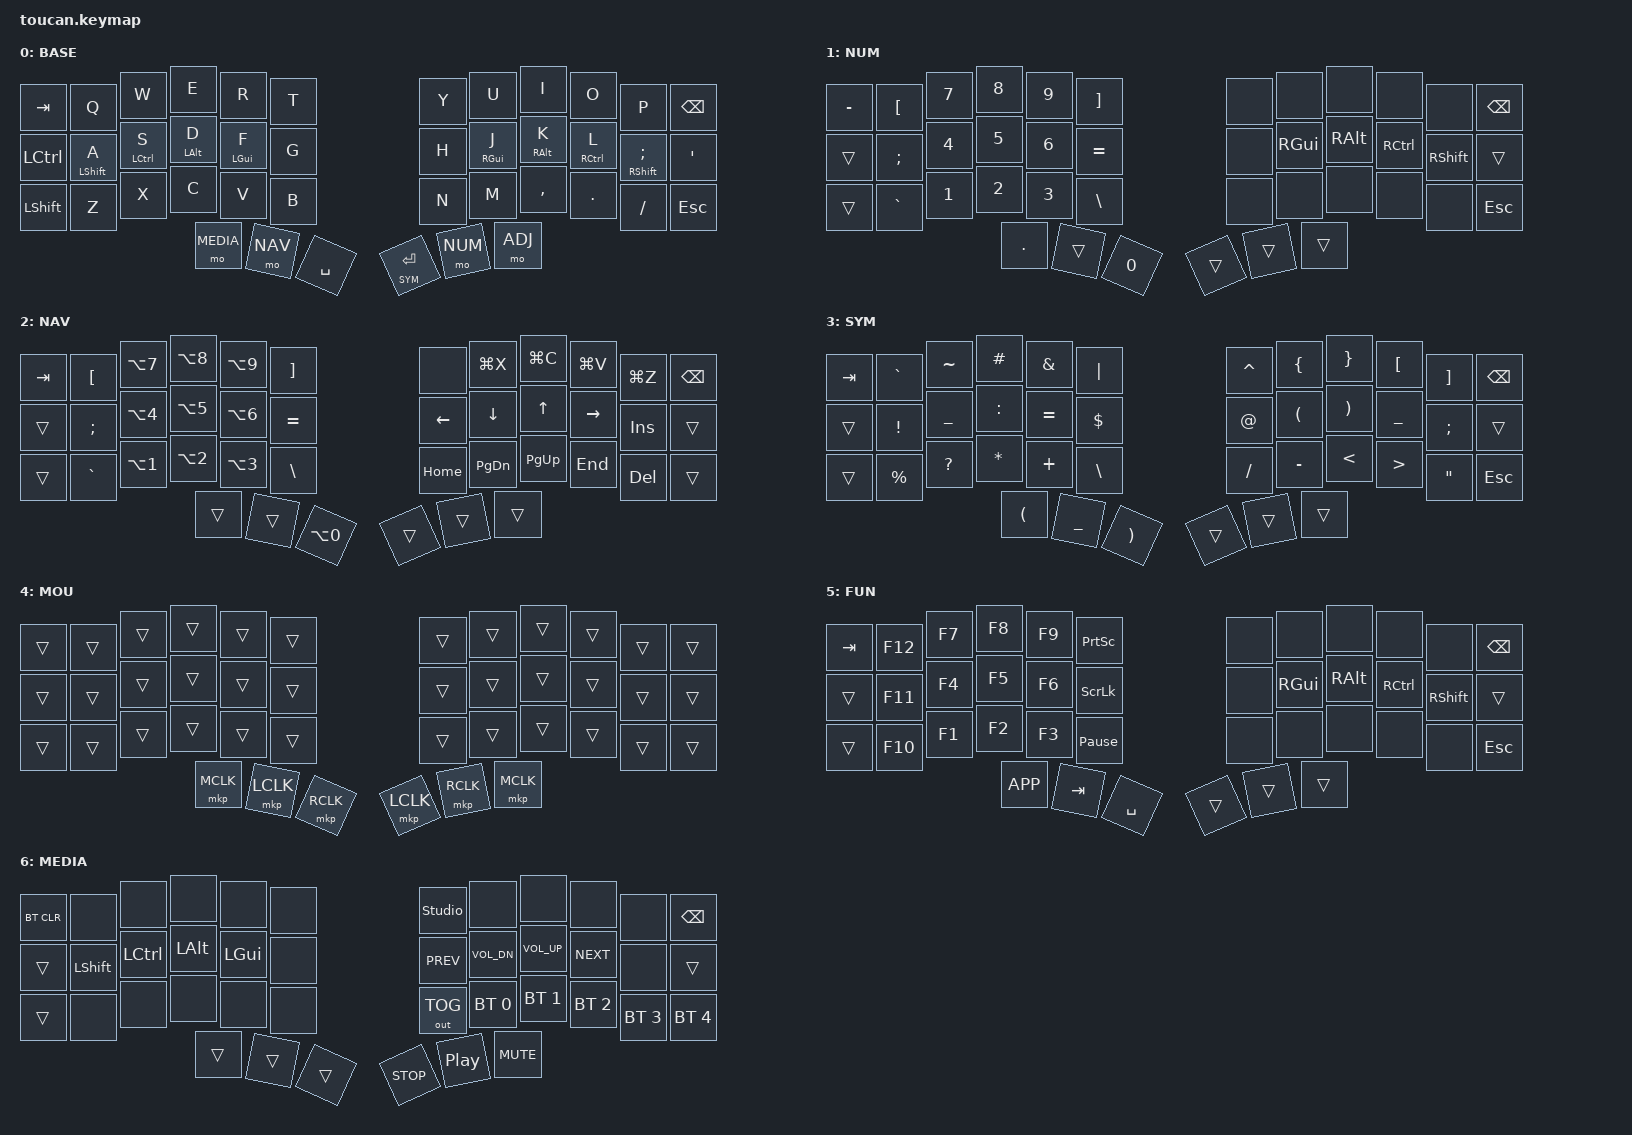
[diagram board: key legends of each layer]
#include <behaviors.dtsi>
#include <dt-bindings/zmk/keys.h>
#include <dt-bindings/zmk/bt.h>
#include <dt-bindings/zmk/outputs.h>
#include <dt-bindings/zmk/pointing.h>

#define BASE 0
#define NUM  1
#define NAV  2
#define SYM  3
// Keep the trackpad's hard-coded &mo 4 in toucan.dtsi aligned with MOU.
#define MOU  4
#define ADJ  5
#define MEDIA 6

/ {
    behaviors {
        sym_enter: symbol_enter {
            compatible = "zmk,behavior-hold-tap";
            #binding-cells = <2>;
            flavor = "balanced";
            tapping-term-ms = <200>;
            bindings = <&mo>, <&kp>;
        };

        hrm_l: home_row_mods_left {
            compatible = "zmk,behavior-hold-tap";
            #binding-cells = <2>;
            flavor = "balanced";
            tapping-term-ms = <280>;
            quick-tap-ms = <175>;
            require-prior-idle-ms = <125>;
            bindings = <&kp>, <&kp>;
            // Opposite-hand keys and all thumbs may trigger a hold.
            hold-trigger-key-positions = <
                6 7 8 9 10 11
                18 19 20 21 22 23
                30 31 32 33 34 35
                36 37 38 39 40 41
            >;
            hold-trigger-on-release;
        };

        hrm_r: home_row_mods_right {
            compatible = "zmk,behavior-hold-tap";
            #binding-cells = <2>;
            flavor = "balanced";
            tapping-term-ms = <280>;
            quick-tap-ms = <175>;
            require-prior-idle-ms = <125>;
            bindings = <&kp>, <&kp>;
            hold-trigger-key-positions = <
                0 1 2 3 4 5
                12 13 14 15 16 17
                24 25 26 27 28 29
                36 37 38 39 40 41
            >;
            hold-trigger-on-release;
        };
    };

    keymap {
        compatible = "zmk,keymap";

        base {
            display-name = "BASE";
            bindings = <
                &kp TAB   &kp Q           &kp W           &kp E           &kp R          &kp T   &kp Y &kp U          &kp I          &kp O           &kp P             &kp BSPC
                &kp LCTRL &hrm_l LSHFT A  &hrm_l LCTRL S  &hrm_l LALT D   &hrm_l LGUI F  &kp G   &kp H &hrm_r RGUI J  &hrm_r RALT K  &hrm_r RCTRL L  &hrm_r RSHFT SEMI &kp SQT
                &kp LSHFT &kp Z           &kp X           &kp C           &kp V          &kp B   &kp N &kp M          &kp COMMA      &kp DOT         &kp FSLH          &kp ESC
                                                     &mo MEDIA &mo NAV &kp SPACE   &sym_enter SYM RET &mo NUM &mo ADJ
            >;
        };

        num {
            display-name = "NUM";
            bindings = <
                &kp MINUS &kp LBKT  &kp N7 &kp N8 &kp N9 &kp RBKT    &none &none        &none        &none         &none         &kp BSPC
                &trans  &kp SEMI  &kp N4 &kp N5 &kp N6 &kp EQUAL   &none &kp RGUI     &kp RALT     &kp RCTRL     &kp RSHFT     &trans
                &trans  &kp GRAVE &kp N1 &kp N2 &kp N3 &kp BSLH    &none &none        &none        &none         &none         &kp ESC
                                      &kp DOT &trans &kp N0   &trans &trans &trans
            >;
        };

        nav {
            display-name = "NAV";
            bindings = <
                &kp TAB &kp LBKT  &kp LA(N7) &kp LA(N8) &kp LA(N9) &kp RBKT    &none    &kp LG(X) &kp LG(C) &kp LG(V)  &kp LG(Z) &kp BSPC
                &trans  &kp SEMI  &kp LA(N4) &kp LA(N5) &kp LA(N6) &kp EQUAL   &kp LEFT &kp DOWN  &kp UP    &kp RIGHT  &kp INS   &trans
                &trans  &kp GRAVE &kp LA(N1) &kp LA(N2) &kp LA(N3) &kp BSLH    &kp HOME &kp PG_DN &kp PG_UP &kp END    &kp DEL   &trans
                                       &trans &trans &kp LA(N0)   &trans &trans &trans
            >;
        };

        sym {
            display-name = "SYM";
            bindings = <
                &kp TAB &kp GRAVE &kp TILDE &kp HASH  &kp AMPS  &kp PIPE   &kp CARET &kp LBRC  &kp RBRC &kp LBKT  &kp RBKT &kp BSPC
                &trans  &kp EXCL  &kp UNDER &kp COLON &kp EQUAL &kp DLLR   &kp AT    &kp LPAR  &kp RPAR &kp UNDER &kp SEMI &trans
                &trans  &kp PRCNT &kp QMARK &kp STAR  &kp PLUS  &kp BSLH   &kp FSLH  &kp MINUS &kp LT   &kp GT    &kp DQT  &kp ESC
                                      &kp LPAR &kp UNDER &kp RPAR   &trans &trans &trans
            >;
        };

        mouse {
            display-name = "MOU";
            bindings = <
                &trans &trans &trans &trans &trans &trans   &trans &trans &trans &trans &trans &trans
                &trans &trans &trans &trans &trans &trans   &trans &trans &trans &trans &trans &trans
                &trans &trans &trans &trans &trans &trans   &trans &trans &trans &trans &trans &trans
                                   &mkp MCLK &mkp LCLK &mkp RCLK   &mkp LCLK &mkp RCLK &mkp MCLK
            >;
        };

        adj {
            display-name = "FUN";
            bindings = <
                &kp TAB &kp F12 &kp F7 &kp F8 &kp F9 &kp PSCRN       &none &none    &none    &none     &none     &kp BSPC
                &trans  &kp F11 &kp F4 &kp F5 &kp F6 &kp SLCK        &none &kp RGUI &kp RALT &kp RCTRL &kp RSHFT &trans
                &trans  &kp F10 &kp F1 &kp F2 &kp F3 &kp PAUSE_BREAK &none &none    &none    &none     &none     &kp ESC
                                         &kp K_APP &kp TAB &kp SPACE   &trans &trans &trans
            >;
        };

        media {
            display-name = "MEDIA";
            bindings = <
                &bt BT_CLR &none     &none     &none    &none    &none   &studio_unlock &none        &none        &none         &none        &kp BSPC
                &trans     &kp LSHFT &kp LCTRL &kp LALT &kp LGUI &none   &kp C_PREV     &kp C_VOL_DN &kp C_VOL_UP &kp C_NEXT    &none        &trans
                &trans     &none     &none     &none    &none    &none   &out OUT_TOG   &bt BT_SEL 0 &bt BT_SEL 1 &bt BT_SEL 2  &bt BT_SEL 3 &bt BT_SEL 4
                                                &trans &trans &trans   &kp C_STOP &kp C_PP &kp C_MUTE
            >;
        };
    };
};
